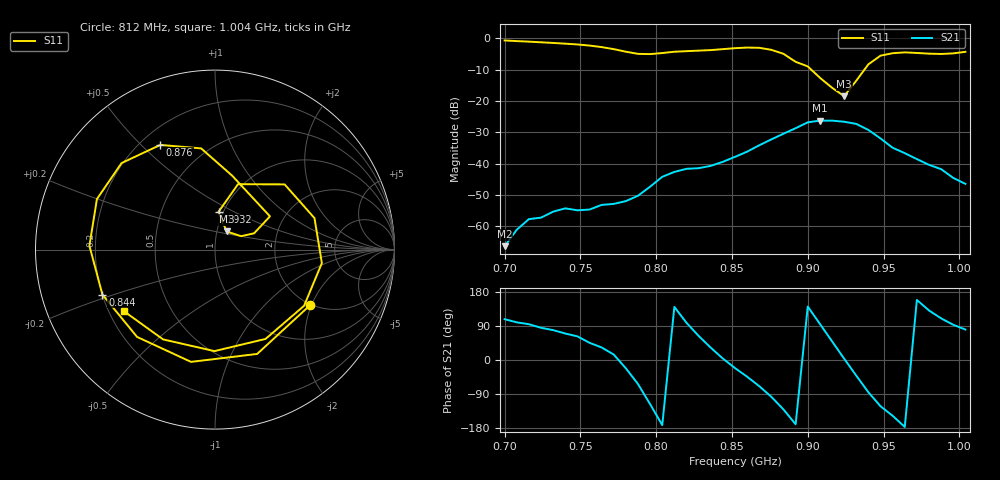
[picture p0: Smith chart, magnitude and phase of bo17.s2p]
# Hz S RI R 50
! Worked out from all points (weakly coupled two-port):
!   39 points, 700 MHz to 1.004 GHz, reference 50 ohm
!   highest |S21| = -26.25 dB at 908 MHz (marker M1); lowest = -66.4 dB at 700 MHz (marker M2)
!   lowest |S11| = -18.4 dB at 924 MHz (marker M3), VSWR 1.27, Z = 55.7 + j11.4 ohm
!   |S11| at or under -10 dB: 902.4 MHz to 937.3 MHz (34.96 MHz wide, 3.8 % of centre)
!   S12 and S22 are empty: the file has one direction only
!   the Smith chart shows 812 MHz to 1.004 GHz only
!   S11 on the Smith chart (normalised r, x): 812 MHz: 1.97, -1.95; 844 MHz: 0.20, -0.18; 876 MHz: 0.28, +0.57; 932 MHz: 0.95, +0.42; 1.004 GHz: 0.26, -0.29
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7e8  0.7649 0.5287  -0.000146 0.000458  0 0  0 0
7.24e8  0.8306 -0.2551  0.00012 0.00137  0 0  0 0
7.4e8  0.4415 -0.698  0.000666 0.00181  0 0  0 0
7.56e8  -0.198 -0.7441  0.0013 0.00132  0 0  0 0
7.72e8  -0.6517 -0.1777  0.00221 0.000563  0 0  0 0
7.8e8  -0.5676 0.2366  0.00234 -0.000943  0 0  0 0
7.88e8  -0.21 0.5277  0.00137 -0.00275  0 0  0 0
7.96e8  0.2751 0.491  -0.00192 -0.00384  0 0  0 0
8.04e8  0.5706 0.129  -0.0061 -0.000889  0 0  0 0
8.12e8  0.53 -0.3094  -0.00566 0.00473  0 0  0 0
8.28e8  -0.1337 -0.6256  0.00378 0.00757  0 0  0 0
8.44e8  -0.6272 -0.2506  0.0107 0.000715  0 0  0 0
8.52e8  -0.6997 0.0213  0.012 -0.00468  0 0  0 0
8.76e8  -0.3048 0.5832  -0.00308 -0.0242  0 0  0 0
9e8  0.3063 0.1853  -0.0356 0.0287  0 0  0 0
9.08e8  0.218 0.0909  -0.00451 0.0485  0 0  0 0
9.24e8  0.0646 0.101  0.0467 0.00292  0 0  0 0
9.32e8  0.0197 0.2104  0.0325 -0.0284  0 0  0 0
9.48e8  0.3881 0.3632  -0.0134 -0.0214  0 0  0 0
9.56e8  0.5543 0.1753  -0.0151 -0.00973  0 0  0 0
9.8e8  0.2817 -0.4976  -0.00624 0.00726  0 0  0 0
1.004e9  -0.5055 -0.3446  0.000796 0.00468  0 0  0 0
